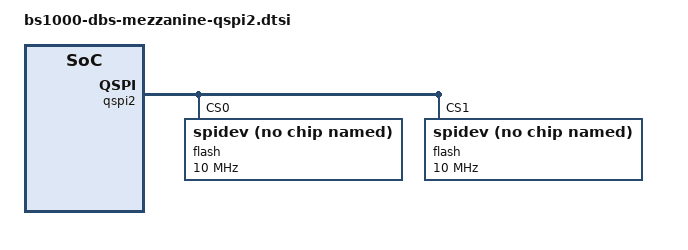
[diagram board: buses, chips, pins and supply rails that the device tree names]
// SPDX-License-Identifier: GPL-2.0
/*
 * Device tree include file for DBS socket X11.16 mezzanine board
 * Copyright (C) 2023 Baikal Electronics, JSC
 */

&qspi2 {
	num-cs = <2>;
	status = "okay";

	flash@0 {
		compatible = "rohm,dh2228fv";
		reg = <0>;
		#address-cells = <1>;
		#size-cells = <1>;
		spi-max-frequency = <10000000>;
		spi-tx-bus-width = <1>;
		spi-rx-bus-width = <1>;
		status = "okay";
	};

	flash@1 {
		compatible = "rohm,dh2228fv";
		reg = <1>;
		#address-cells = <1>;
		#size-cells = <1>;
		spi-max-frequency = <10000000>;
		spi-tx-bus-width = <1>;
		spi-rx-bus-width = <1>;
		status = "okay";
	};
};
